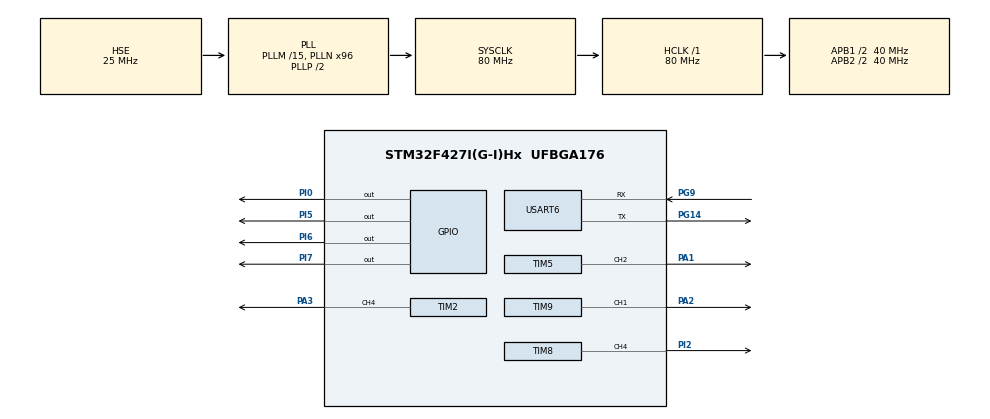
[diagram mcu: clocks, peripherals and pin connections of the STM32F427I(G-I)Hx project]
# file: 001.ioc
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Mcu.Family=STM32F4
Mcu.Name=STM32F427I(G-I)Hx
Mcu.Package=UFBGA176
NVIC.PriorityGroup=NVIC_PRIORITYGROUP_4
NVIC.TIM1_BRK_TIM9_IRQn=true\:0\:0\:false\:false\:true\:true\:true\:true
NVIC.TIM2_IRQn=true\:0\:0\:false\:false\:true\:true\:true\:true
NVIC.TIM5_IRQn=true\:0\:0\:false\:false\:true\:true\:true\:true
NVIC.TIM8_BRK_TIM12_IRQn=true\:0\:0\:false\:false\:true\:true\:true\:true
NVIC.TIM8_CC_IRQn=true\:0\:0\:false\:false\:true\:true\:true\:true
NVIC.TIM8_TRG_COM_TIM14_IRQn=true\:0\:0\:false\:false\:true\:true\:true\:true
NVIC.TIM8_UP_TIM13_IRQn=true\:0\:0\:false\:false\:true\:true\:true\:true
NVIC.USART6_IRQn=true\:0\:0\:false\:false\:true\:true\:true\:true
PA1.Signal=S_TIM5_CH2
PA2.Signal=S_TIM9_CH1
PA3.Signal=S_TIM2_CH4
PG14.Mode=Asynchronous
PG14.Signal=USART6_TX
PG9.Mode=Asynchronous
PG9.Signal=USART6_RX
PH0/OSC_IN.Mode=HSE-External-Oscillator
PH0/OSC_IN.Signal=RCC_OSC_IN
PH1/OSC_OUT.Mode=HSE-External-Oscillator
PH1/OSC_OUT.Signal=RCC_OSC_OUT
PI0.GPIO_PuPd=GPIO_PULLUP
PI0.Signal=GPIO_Output
PI2.Signal=S_TIM8_CH4
PI5.GPIO_PuPd=GPIO_PULLUP
PI5.Signal=GPIO_Output
PI6.GPIO_PuPd=GPIO_PULLUP
PI6.Signal=GPIO_Output
PI7.GPIO_PuPd=GPIO_PULLUP
PI7.Signal=GPIO_Output
ProjectManager.HeapSize=0x200
ProjectManager.StackSize=0x400
ProjectManager.TargetToolchain=MDK-ARM V5.32
RCC.48MHZClocksFreq_Value=32000000
RCC.AHBFreq_Value=80000000
RCC.APB1CLKDivider=RCC_HCLK_DIV2
RCC.APB1Freq_Value=40000000
RCC.APB1TimFreq_Value=80000000
RCC.APB2CLKDivider=RCC_HCLK_DIV2
RCC.APB2Freq_Value=40000000
RCC.APB2TimFreq_Value=80000000
RCC.CortexFreq_Value=80000000
RCC.HCLKFreq_Value=80000000
RCC.HSE_VALUE=25000000
RCC.HSI_VALUE=16000000
RCC.LSE_VALUE=32768
RCC.PLLM=15
RCC.PLLN=96
RCC.PLLQ=5
RCC.PLLSourceVirtual=RCC_PLLSOURCE_HSE
RCC.SYSCLKFreq_VALUE=80000000
RCC.SYSCLKSource=RCC_SYSCLKSOURCE_PLLCLK
RCC.VCOOutputFreq_Value=160000000
SH.S_TIM2_CH4.0=TIM2_CH4,PWM Generation4 CH4
SH.S_TIM5_CH2.0=TIM5_CH2,PWM Generation2 CH2
SH.S_TIM8_CH4.0=TIM8_CH4,PWM Generation4 CH4
SH.S_TIM9_CH1.0=TIM9_CH1,PWM Generation1 CH1
TIM2.AutoReloadPreload=TIM_AUTORELOAD_PRELOAD_ENABLE
TIM2.Channel-PWM\ Generation4\ CH4=TIM_CHANNEL_4
TIM2.Period=999
TIM2.Prescaler=79
TIM2.Pulse-PWM\ Generation4\ CH4=500
TIM5.AutoReloadPreload=TIM_AUTORELOAD_PRELOAD_ENABLE
TIM5.Channel-PWM\ Generation2\ CH2=TIM_CHANNEL_2
TIM5.Period=999
TIM5.Prescaler=79
TIM5.Pulse-PWM\ Generation2\ CH2=500
TIM8.AutoReloadPreload=TIM_AUTORELOAD_PRELOAD_ENABLE
TIM8.Channel-PWM\ Generation4\ CH4=TIM_CHANNEL_4
TIM8.Period=999
TIM8.Prescaler=79
TIM8.Pulse-PWM\ Generation4\ CH4=500
TIM9.AutoReloadPreload=TIM_AUTORELOAD_PRELOAD_ENABLE
TIM9.Channel-PWM\ Generation1\ CH1=TIM_CHANNEL_1
TIM9.Period=999
TIM9.Prescaler=79
TIM9.Pulse-PWM\ Generation1\ CH1=500
USART6.VirtualMode=VM_ASYNC
VP_TIM2_VS_ClockSourceINT.Mode=Internal
VP_TIM5_VS_ClockSourceINT.Mode=Internal
VP_TIM8_VS_ClockSourceINT.Mode=Internal
VP_TIM9_VS_ClockSourceINT.Mode=Internal
board=custom

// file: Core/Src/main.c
/* USER CODE BEGIN Header */
/**
  ******************************************************************************
  * @file           : main.c
  * @brief          : Main program body
  ******************************************************************************
  * @attention
  *
  * Copyright (c) 2024 STMicroelectronics.
  * All rights reserved.
  *
  * This software is licensed under terms that can be found in the LICENSE file
  * in the root directory of this software component.
  * If no LICENSE file comes with this software, it is provided AS-IS.
  *
  ******************************************************************************
  */
/* USER CODE END Header */
#include "main.h"
#include "tim.h"
#include "usart.h"
#include "gpio.h"

/* USER CODE BEGIN Includes */
#include <stdio.h>
#include <string.h>
#include <math.h>
/* USER CODE END Includes */

/* USER CODE BEGIN PTD */
typedef struct step_ctrl_t
{
    int s;     // 加速过程需要的步数
    int i;     // 当前步
    int steps; // 步数
    float vi;  // 当前速度
    float a;   // 加速度（脉冲/s2）
    uint dir;
} step_ctrl;

typedef struct stepper_channel_t
{
    TIM_HandleTypeDef *timer;
    TIM_TypeDef *timer_instance;
    uint32_t channel;
    GPIO_TypeDef *dir_port;
    uint16_t dir_pin;
    volatile int *busy_flag;
    volatile int *enable_flag;
} stepper_channel;
/* USER CODE END PTD */

/* USER CODE BEGIN PD */
// 全局变量
float speed_factor = 0.1f;
float accel_factor = 0.2f;
int finger_pos[2];
int exit_debug_mode = 0;
g_config cfg;
// flag0~3 和 allow 在定时器中断里修改、在主循环里轮询，必须是 volatile，
// 否则 -O3 下 stepper_wait_all_done() 只读一次标志位，第一次阻塞运动就会死循环。
volatile int flag0;
volatile int flag1;
volatile int flag2;
volatile int flag3;
int test;
int test1;
int test2;
int test3;
int test4 = 0;
volatile int allow[4] = {0, 0, 0, 0};

static step_ctrl stepper_ctrl[4] = {0};

///////////////////////////////////////////////////////////////////////////////////
// ------------------------------ 解析魔方还原步骤 ------------------------------- //
///////////////////////////////////////////////////////////////////////////////////

enum cube_stat {
    STAT_DF=0,STAT_DB,  STAT_DL,  STAT_DR,
    STAT_UF,  STAT_UB,  STAT_UL,  STAT_UR,
    STAT_FL,  STAT_FR,  STAT_FU,  STAT_FD,
    STAT_BL,  STAT_BR,  STAT_BU,  STAT_BD,
    STAT_LF,  STAT_LB,  STAT_LU,  STAT_LD,
    STAT_RF,  STAT_RB,  STAT_RU,  STAT_RD,
};

enum cube_flip {
    FLIP_90_LEFT_CW   = 0,
    FLIP_180_LEFT     = 1,
    FLIP_90_LEFT_CCW  = 2,
    FLIP_90_RIGHT_CW  = 3,
    FLIP_180_RIGHT    = 4,
    FLIP_90_RIGHT_CCW = 5,
    FLIP_NULL         = 7,
};
enum cube_twist {
    TWIST_90_LEFT_CW   = 0,
    TWIST_180_LEFT     = 1,
    TWIST_90_LEFT_CCW  = 2,
    TWIST_90_RIGHT_CW  = 3,
    TWIST_180_RIGHT    = 4,
    TWIST_90_RIGHT_CCW = 5,
    TWIST_NULL         = 7,
};

// orig|90,LEFT,CW|180,LEFT|90,LEFT,CCW|90,RIGHT,CW|180,RIGHT|90,RIGHT,CCW
// 使用cube_table.py自动生成
const char cube_status_tab[24][6]={
    // 90,LEFT,CW|180,LEFT|90,LEFT,CCW|90,RIGHT,CW|180,RIGHT|90,RIGHT,CCW
    {STAT_DL, STAT_DB, STAT_DR, STAT_RF, STAT_UF, STAT_LF}, // flip from STAT_DF
    {STAT_DR, STAT_DF, STAT_DL, STAT_LB, STAT_UB, STAT_RB}, // flip from STAT_DB
    {STAT_DB, STAT_DR, STAT_DF, STAT_FL, STAT_UL, STAT_BL}, // flip from STAT_DL
    {STAT_DF, STAT_DL, STAT_DB, STAT_BR, STAT_UR, STAT_FR}, // flip from STAT_DR
    {STAT_UR, STAT_UB, STAT_UL, STAT_LF, STAT_DF, STAT_RF}, // flip from STAT_UF
    {STAT_UL, STAT_UF, STAT_UR, STAT_RB, STAT_DB, STAT_LB}, // flip from STAT_UB
    {STAT_UF, STAT_UR, STAT_UB, STAT_BL, STAT_DL, STAT_FL}, // flip from STAT_UL
    {STAT_UB, STAT_UL, STAT_UF, STAT_FR, STAT_DR, STAT_BR}, // flip from STAT_UR
    {STAT_FD, STAT_FR, STAT_FU, STAT_UL, STAT_BL, STAT_DL}, // flip from STAT_FL
    {STAT_FU, STAT_FL, STAT_FD, STAT_DR, STAT_BR, STAT_UR}, // flip from STAT_FR
    {STAT_FL, STAT_FD, STAT_FR, STAT_RU, STAT_BU, STAT_LU}, // flip from STAT_FU
    {STAT_FR, STAT_FU, STAT_FL, STAT_LD, STAT_BD, STAT_RD}, // flip from STAT_FD
    {STAT_BU, STAT_BR, STAT_BD, STAT_DL, STAT_FL, STAT_UL}, // flip from STAT_BL
    {STAT_BD, STAT_BL, STAT_BU, STAT_UR, STAT_FR, STAT_DR}, // flip from STAT_BR
    {STAT_BR, STAT_BD, STAT_BL, STAT_LU, STAT_FU, STAT_RU}, // flip from STAT_BU
    {STAT_BL, STAT_BU, STAT_BR, STAT_RD, STAT_FD, STAT_LD}, // flip from STAT_BD
    {STAT_LU, STAT_LB, STAT_LD, STAT_DF, STAT_RF, STAT_UF}, // flip from STAT_LF
    {STAT_LD, STAT_LF, STAT_LU, STAT_UB, STAT_RB, STAT_DB}, // flip from STAT_LB
    {STAT_LB, STAT_LD, STAT_LF, STAT_FU, STAT_RU, STAT_BU}, // flip from STAT_LU
    {STAT_LF, STAT_LU, STAT_LB, STAT_BD, STAT_RD, STAT_FD}, // flip from STAT_LD
    {STAT_RD, STAT_RB, STAT_RU, STAT_UF, STAT_LF, STAT_DF}, // flip from STAT_RF
    {STAT_RU, STAT_RF, STAT_RD, STAT_DB, STAT_LB, STAT_UB}, // flip from STAT_RB
    {STAT_RF, STAT_RD, STAT_RB, STAT_BU, STAT_LU, STAT_FU}, // flip from STAT_RU
    {STAT_RB, STAT_RU, STAT_RF, STAT_FD, STAT_LD, STAT_BD}, // flip from STAT_RD
};

// a: 需要进行的操作，取值范围如下
// "U", "R", "F", "D", "L", "B"
// "U'", "R'", "F'", "D'", "L'", "B'"
// "U2", "R2", "F2", "D2", "L2", "B2"
// stat: 魔方的朝向，取值范围如下(0-23)
//    STAT_DF,STAT_DB, STAT_DL, STAT_DR,
//    STAT_UF, STAT_UB, STAT_UL, STAT_UR,
//    STAT_FL, STAT_FR, STAT_FU, STAT_FD,
//    STAT_BL, STAT_BR, STAT_BU, STAT_BD,
//    STAT_LF, STAT_LB, STAT_LU, STAT_LD,
//    STAT_RF, STAT_RB, STAT_RU, STAT_RD,
// last_lr: 最后移动过的机械臂，下次操作时，会尽量选择同侧的
// LEFT  0
// RIGHT 1

// 返回值：魔方的朝向，取值范围和stat一样
static int cube_tweak(int stat, const char *a, int *last_lr, char *flip_twist)
{
    int lr = LEFT;
    int flip = FLIP_NULL;
    int twist = TWIST_NULL;
    const char cube_face_code[6] = {'U', 'R', 'F', 'D', 'L', 'B'};
    const char cube_stat_decode[24] = {
        0x32,0x35,0x34,0x31,
        0x02,0x05,0x04,0x01,
        0x24,0x21,0x20,0x23,
        0x54,0x51,0x50,0x53,
        0x42,0x45,0x40,0x43,
        0x12,0x15,0x10,0x13,
    };
    for(int face = 0; face < 6; face ++)
    {
        if(cube_face_code[face] == a[0])
        {
            // 将取值范围0-23的stat转为cube_stat_decode中描述的形式，方便判断可操作的面
            char stat_decode = cube_stat_decode[stat];
            //printf("action == %c%c, status == %c%c\n", a[0], a[1], cube_face_code[stat_decode>>4], cube_face_code[stat_decode&0x0f]);
            if((stat_decode & 0xF0) == (face << 4))
            {
                // 拧左边
                lr = LEFT;
            }
            else if((stat_decode & 0x0F) == face)
            {
                // 拧右边
                lr = RIGHT;
            }
            else
            {
                // 需要调整魔方方向
                int start, end, add, i;
                // last_lr: 最后移动过的机械臂，翻转魔方操作时，尽量选择同侧的机械臂
                // 和上次动作同为90度时，可以节省一些操作步骤
                if(*last_lr == LEFT)
                {
                    start = 0;
                    end = 6;
                    add = 1;
                }
                else
                {
                    start = 5;
                    end = -1;
                    add = -1;
                }
                for(i=start; i != end; i+=add)
                {
                    int next = cube_status_tab[stat][i];
                    char next_stat_decode = cube_stat_decode[next];
                    if((next_stat_decode & 0xF0) == (face << 4))
                    {
                        lr = LEFT;
                        flip = i;
                        stat = next;
                        break;
                    }
                    else if((next_stat_decode & 0x0F) == face)
                    {
                        lr = RIGHT;
                        flip = i;
                        stat = next;
                        break;
                    }
                }
            }
            break;
        }
    }
    *last_lr = lr;
    // 拧魔方
    if('\'' == a[1])
    {
        if(LEFT == lr){
            twist = TWIST_90_LEFT_CCW;
        }else{
            twist = TWIST_90_RIGHT_CCW;
        }
    }
    else if('2' == a[1])
    {
        if(LEFT == lr){
            twist = TWIST_180_LEFT;
        }else{
            twist = TWIST_180_RIGHT;
        }
    }
    else
    {
        if(LEFT == lr){
            twist = TWIST_90_LEFT_CW;
        }else{
            twist = TWIST_90_RIGHT_CW;
        }
    }
    flip_twist[0] = (char)flip;
    flip_twist[1] = (char)twist;
    return stat;
};

// 按照求解结果执行动作
static int cube_tweak_str(int stat, const char *str)
{
    const int MAX_STEP = 25;
    const char *p = str;
    int count = 0;// 步骤数量
    int last_lr = LEFT; // 最后移动过的机械臂，下次操作时，会尽量选择同侧的
    char motion_table[MAX_STEP][2];// {flip, twist}
    while(1)
    {
        if(*p == 'U' || *p == 'R' || *p == 'F' || *p == 'D' || *p == 'L' || *p == 'B'){
            stat = cube_tweak(stat, p, &last_lr, motion_table[count]);
            p++;
            count++;
            if(*p == 0 || count >= MAX_STEP){
                break;
            }
        }
        p++;
        if(*p == 0){
            break;
        }
    }
    ////printf("count=%d\n", count);
    for(int i=0; i<count-1; i++)
    {
        int twist = motion_table[i][1];
        int flip = motion_table[i+1][0];
        if((flip == FLIP_90_LEFT_CW || flip == FLIP_90_LEFT_CCW) &&
           (twist == TWIST_90_LEFT_CW || twist == TWIST_90_LEFT_CCW))
        {
            motion_table[i][1] |= 0x10;
            motion_table[i+1][0] |= 0x10;
        }
        if((flip == FLIP_90_RIGHT_CW || flip == FLIP_90_RIGHT_CCW) &&
           (twist == TWIST_90_RIGHT_CW || twist == TWIST_90_RIGHT_CCW))
        {
            motion_table[i][1] |= 0x10;
            motion_table[i+1][0] |= 0x10;
        }
    }
    for(int i=0; i<count; i++)
    {
        //printf("count = %d\n", i);
        // 翻转魔方动作的编号，例如FLIP_90_LEFT_CW
        int flip = motion_table[i][0] & 0x0F;
        // 拧魔方动作的编号，例如TWIST_90_LEFT_CW
        int twist = motion_table[i][1] & 0x0F;
        // 如果可以跳过手指张开，机械臂旋转90度回零的动作，取值16
        // 如果不能，取值0
        int flip_skip_back_step = motion_table[i][0] & 0x10;
        int twist_skip_back_step = motion_table[i][1] & 0x10;
        switch(flip)
        {
            case FLIP_90_LEFT_CW:
                flip_cube_90(LEFT, CW, flip_skip_back_step);
                break;
            case FLIP_180_LEFT:
                flip_cube_180(LEFT);
                break;
            case FLIP_90_LEFT_CCW:
                flip_cube_90(LEFT, CCW, flip_skip_back_step);
                break;
            case FLIP_90_RIGHT_CW:
                flip_cube_90(RIGHT, CW, flip_skip_back_step);
                break;
            case FLIP_180_RIGHT:
                flip_cube_180(RIGHT);
                break;
            case FLIP_90_RIGHT_CCW:
                flip_cube_90(RIGHT, CCW, flip_skip_back_step);
                break;
            default: // FLIP_NULL
                break;
        }
        switch(twist)
        {
            case TWIST_90_LEFT_CW:
                twist_cube_90(LEFT, CW, twist_skip_back_step);
                break;
            case TWIST_180_LEFT:
                twist_cube_180(LEFT);
                break;
            case TWIST_90_LEFT_CCW:
                twist_cube_90(LEFT, CCW, twist_skip_back_step);
                break;
            case TWIST_90_RIGHT_CW:
                twist_cube_90(RIGHT, CW, twist_skip_back_step);
                break;
            case TWIST_180_RIGHT:
                twist_cube_180(RIGHT);
                break;
            case TWIST_90_RIGHT_CCW:
                twist_cube_90(RIGHT, CCW, twist_skip_back_step);
                break;
            default: // TWIST_NULL
                break;
        }
    }
    return stat;
}

///////////////////////////////////////////////////////////////////////////////////
// ---------------------------------- 脉冲控制 ---------------------------------- //
///////////////////////////////////////////////////////////////////////////////////

static stepper_channel stepper_channels[4] = {
    {&ARM0_T, TIM8, ARM0_ch, PIN_DIR0, GPIO_DIR0, &flag0, &allow[0]},
    {&ARM1_T, TIM2, ARM1_ch, PIN_DIR1, GPIO_DIR1, &flag1, &allow[1]},
    {&ARM2_T, TIM9, ARM2_ch, PIN_DIR2, GPIO_DIR2, &flag2, &allow[2]},
    {&ARM3_T, TIM5, ARM3_ch, PIN_DIR3, GPIO_DIR3, &flag3, &allow[3]},
};

static void stepper_refresh_busy_count(void)
{
    test4 = flag0 + flag1 + flag2 + flag3;
}

static int stepper_is_valid(int sm)
{
    return sm >= 0 && sm < 4;
}

static void stepper_mark_busy(int sm)
{
    if(stepper_is_valid(sm))
    {
        *stepper_channels[sm].busy_flag = 1;
        stepper_refresh_busy_count();
    }
}

static void stepper_mark_done(int sm)
{
    if(stepper_is_valid(sm))
    {
        *stepper_channels[sm].busy_flag = 0;
        stepper_refresh_busy_count();
    }
}

static int stepper_any_busy(void)
{
    return flag0 || flag1 || flag2 || flag3;
}

static void stepper_start_channel(int sm)
{
    if(stepper_is_valid(sm))
    {
        stepper_channel *channel = &stepper_channels[sm];

        HAL_TIM_Base_Start_IT(channel->timer);
        HAL_TIM_PWM_Start(channel->timer, channel->channel);
        *channel->enable_flag = 1;
    }
}

static void stepper_stop_channel(int sm)
{
    if(stepper_is_valid(sm))
    {
        stepper_channel *channel = &stepper_channels[sm];

        HAL_TIM_PWM_Stop(channel->timer, channel->channel);
        HAL_TIM_Base_Start_IT(channel->timer);
    }
}

static void stepper_wait_all_done(void)
{
    while(stepper_any_busy())
    {
    }
}
// 电机加速控制
// gpio_mask 1<<GPIO编号 steps：步数，v0：初始速度（脉冲/s），v：最高速度（脉冲/s），a：加速度（脉冲/s2）
// steps可以为正数或者负数，符号表示方向，但是不能为0
static void stepper_move(int sm, int steps, float v0, float v, float a)
{
    if(!stepper_is_valid(sm))
    {
        return;
    }

    step_ctrl *p_step_ctrl = &stepper_ctrl[sm];

    if(steps < 0)
    {
        p_step_ctrl->dir = 0;
        p_step_ctrl->steps = -steps;
    }
    else
    {
        p_step_ctrl->dir = 1;
        p_step_ctrl->steps = steps;
    }

    p_step_ctrl->vi = v0 * speed_factor;
    p_step_ctrl->a = a * accel_factor;
    p_step_ctrl->s = (int)roundf((v * v - v0 * v0) / (2 * a)); // 计算加速过程需要的步数
    p_step_ctrl->i = 0;
    test1 = sm;

    stepper_start_channel(sm);
}

// 等待电机控制指令执行完毕
static void stepper_move_block(int sm, int steps, float v0, float v, float a)
{
    stepper_mark_busy(sm);
    stepper_move(sm, steps, v0, v, a);
    stepper_wait_all_done();
}

static uint32_t stepper_move_calc(step_ctrl *p_step_ctrl)
{
    int i = p_step_ctrl->i;
    int s = p_step_ctrl->s;
    int steps = p_step_ctrl->steps;
    float vi = p_step_ctrl->vi;
    float a = p_step_ctrl->a;
    float accel;

    test3 = i;

    if(i < s && i < steps / 2)
    {
        accel = a;
    }
    else if(i >= steps - s)
    {
        accel = -a;
    }
    else
    {
        accel = 0;
    }

    vi = sqrtf(vi * vi + 2.0f * accel);
    p_step_ctrl->vi = vi;
    p_step_ctrl->i = i + 1;

    vi = vi * 2;
    if(vi > 1995)
    {
        vi = 1995;
    }

    return (uint32_t)vi;
}

static void stepper_handle_period_elapsed(int sm)
{
    stepper_channel *channel = &stepper_channels[sm];
    step_ctrl *ctrl = &stepper_ctrl[sm];
    uint32_t period = stepper_move_calc(ctrl);

    HAL_GPIO_WritePin(channel->dir_port, channel->dir_pin, ctrl->dir ? GPIO_PIN_RESET : GPIO_PIN_SET);
    channel->timer_instance->ARR = 1000000U / period - 1U;

    if(sm == 2)
    {
        test2 = period;
    }

    if(ctrl->i >= ctrl->steps)
    {
        stepper_mark_done(sm);
        stepper_stop_channel(sm);
    }
}

void HAL_TIM_PeriodElapsedCallback(TIM_HandleTypeDef *htim)
{
    stepper_refresh_busy_count();

    for(int sm = 0; sm < 4; sm++)
    {
        if(htim == stepper_channels[sm].timer && *stepper_channels[sm].enable_flag == 1)
        {
            stepper_handle_period_elapsed(sm);
            break;
        }
    }
}
///////////////////////////////////////////////////////////////////////////////////
// ---------------------------------- 运动控制 ---------------------------------- //
///////////////////////////////////////////////////////////////////////////////////

//void zero_point(void)
//{
//
//     HAL_Delay(100);
//    // stepper 2
//    stepper_move      (0, 1, cfg.SPEED_HOME, cfg.SPEED_HOME, cfg.ACCEL_HOME);// 移动一步，由HOLD到RUN电流
//    int step = 0;
//    for (int i = 0; ;i++)
//    {
//        stepper_move_block(2, -1, cfg.SPEED_HOME, cfg.SPEED_HOME, cfg.ACCEL_HOME);
//        step++;
//        if(gpio_get(DIAG2) || i > 500)
//        {
//            break;
//        }
//    }
//     HAL_Delay(100);
//    step = 0;
//    for (int i = 0; ;i++)
//    {
//        stepper_move_block(2, 1, cfg.SPEED_HOME, cfg.SPEED_HOME, cfg.ACCEL_HOME);
//        step++;
//        if(gpio_get(DIAG2))
//        {
//            //printf("finger 2 home done. step=%d\n", step);
//            break;
//        }
//        if (i > 200 * 16)
//        {
//            puts("finger 2 home error.");
//            error_code(ERROR_ZERO_POINT);
//        }
//    }
//     HAL_Delay(100);
//    stepper_move_block(2, -cfg.FINGER_OFFSET_INIT, cfg.SPEED_HOME, cfg.SPEED_LOW, cfg.ACCEL_HOME);
//    // stepper 0
//    step = 0;
//    for (int i = 0; ;i++)
//    {
//        stepper_move      (0, 1, cfg.SPEED_HOME, cfg.SPEED_HOME, cfg.ACCEL_HOME);
//        stepper_move_block(2, 1, cfg.SPEED_HOME, cfg.SPEED_HOME, cfg.ACCEL_HOME);
//        step++;
//        if(gpio_get(ITR9606_0))
//        {
//            //printf("arm 0 home done. step=%d\n", step);
//            break;
//        }
//        if ( i > 200 * 16 || gpio_get(DIAG0))
//        {
//            puts("arm 0 home error.");
//            error_code(ERROR_ZERO_POINT);
//        }
//    }
//     HAL_Delay(100);
//    stepper_move      (0, cfg.ARM_OFFSET, cfg.SPEED_HOME, cfg.SPEED_HOME, cfg.ACCEL_HOME);
//    stepper_move_block(2, cfg.ARM_OFFSET, cfg.SPEED_HOME, cfg.SPEED_HOME, cfg.ACCEL_HOME);
//    // stepper 3
//    stepper_move      (1, 1, cfg.SPEED_HOME, cfg.SPEED_HOME, cfg.ACCEL_HOME);// 移动一步，由HOLD到RUN电流
//    step = 0;
//    for (int i = 0; ;i++)
//    {
//        stepper_move_block(3, -1, cfg.SPEED_HOME, cfg.SPEED_HOME, cfg.ACCEL_HOME);
//        step++;
//        if(gpio_get(DIAG3) || i > 500)
//        {
//            break;
//        }
//    }
//     HAL_Delay(100);
//    step = 0;
//    for (int i = 0; ;i++)
//    {
//        stepper_move_block(3, 1, cfg.SPEED_HOME, cfg.SPEED_HOME, cfg.ACCEL_HOME);
//        step++;
//        if(gpio_get(DIAG3))
//        {
//            //printf("finger 3 home done. step=%d\n", step);
//            break;
//        }
//        if (i > 200 * 16)
//        {
//            puts("finger 3 home error.");
//            error_code(ERROR_ZERO_POINT);
//        }
//    }
//     HAL_Delay(100);
//    stepper_move_block(3, -cfg.FINGER_OFFSET_INIT, cfg.SPEED_HOME, cfg.SPEED_LOW, cfg.ACCEL_HOME);
//    // stepper 1
//    step = 0;
//    for (int i = 0; ;i++)
//    {
//        stepper_move      (1, 1, cfg.SPEED_HOME, cfg.SPEED_HOME, cfg.ACCEL_HOME);
//        stepper_move_block(3, 1, cfg.SPEED_HOME, cfg.SPEED_HOME, cfg.ACCEL_HOME);
//        step++;
//        if(gpio_get(ITR9606_1))
//        {
//            //printf("arm 1 home done. step=%d\n", step);
//            break;
//        }
//        if ( i > 200 * 16 || gpio_get(DIAG1))
//        {
//            puts("arm 1 home error.");
//            error_code(ERROR_ZERO_POINT);
//        }
//    }
//     HAL_Delay(100);
//    stepper_move      (1, cfg.ARM_OFFSET, cfg.SPEED_HOME, cfg.SPEED_LOW, cfg.ACCEL_HOME);
//    stepper_move_block(3, cfg.ARM_OFFSET, cfg.SPEED_HOME, cfg.SPEED_LOW, cfg.ACCEL_HOME);
//    finger_pos[0] = cfg.FINGER_OFFSET_INIT;
//    finger_pos[1] = cfg.FINGER_OFFSET_INIT;
//}

// LEFT 0 RIGHT 1
void move_finger(int lr, int to, float v0, float v, float a)
{
    stepper_move      (lr + 2, finger_pos[lr] - to, v0, v, a);
    finger_pos[lr] = to;
}
void move_finger_block(int lr, int to, float v0, float v, float a)
{
    stepper_move_block(lr + 2, finger_pos[lr] - to, v0, v, a);
    finger_pos[lr] = to;
}
void move_arm_block(int lr, int step, float v0, float v, float a)
{
    stepper_move      (lr, step, v0, v, a);
    stepper_move_block(lr + 2, step, v0, v, a);
}
void move_arm(int lr, int step, float v0, float v, float a)
{
    stepper_move(lr, step, v0, v, a);
    stepper_move(lr + 2, step, v0, v, a);
}
// 夹紧魔方
void move_finger_to_default(void)
{
    move_finger      (LEFT, cfg.FINGER_OFFSET_SPIN, cfg.SPEED_HOME, cfg.SPEED_LOW, cfg.ACCEL_HOME);
    move_finger_block(RIGHT, cfg.FINGER_OFFSET_SPIN, cfg.SPEED_HOME, cfg.SPEED_LOW, cfg.ACCEL_HOME);
}
void move_finger_to_lock(void)
{
    move_finger      (LEFT, cfg.FINGER_OFFSET_LOCK, cfg.SPEED_HOME, cfg.SPEED_LOW, cfg.ACCEL_HOME);
    move_finger_block(RIGHT, cfg.FINGER_OFFSET_LOCK, cfg.SPEED_HOME, cfg.SPEED_LOW, cfg.ACCEL_HOME);
}
// 松开魔方
void move_finger_to_init(void)
{
    move_finger      (LEFT, cfg.FINGER_OFFSET_INIT, cfg.SPEED_HOME, cfg.SPEED_LOW, cfg.ACCEL_HOME);
    move_finger_block(RIGHT, cfg.FINGER_OFFSET_INIT, cfg.SPEED_HOME, cfg.SPEED_LOW, cfg.ACCEL_HOME);
}
void move_finger_to_max(void)
{
    move_finger      (LEFT, cfg.FINGER_OFFSET_MAX, cfg.SPEED_HOME, cfg.SPEED_LOW, cfg.ACCEL_HOME);
    move_finger_block(RIGHT, cfg.FINGER_OFFSET_MAX, cfg.SPEED_HOME, cfg.SPEED_LOW, cfg.ACCEL_HOME);
}

//// 反复移动手指，改善润滑状态
//static void move_finger_repetition()
//{
//    for(int i=0;i<3; i++)
//    {
//        move_finger      (LEFT, cfg.FINGER_OFFSET_MAX, cfg.SPEED_HOME, cfg.SPEED_LOW, cfg.ACCEL_HOME);
//        move_finger_block(RIGHT, cfg.FINGER_OFFSET_MAX, cfg.SPEED_HOME, cfg.SPEED_LOW, cfg.ACCEL_HOME);
//         HAL_Delay(cfg.DELAY_US_AFTER_FINGER_LOCK);
//        move_finger      (LEFT, 32, cfg.SPEED_HOME, cfg.SPEED_LOW, cfg.ACCEL_HOME);
//        move_finger_block(RIGHT, 32, cfg.SPEED_HOME, cfg.SPEED_LOW, cfg.ACCEL_HOME);
//         HAL_Delay(cfg.DELAY_US_AFTER_FINGER_LOCK);
//    }
//    for(int i=0;i<3; i++)
//    {
//        move_arm_block(LEFT, 1600, cfg.V_START_ARM_L, cfg.V_MAX_ARM_L, cfg.A_MAX_ARM_L);
//        move_arm_block(RIGHT, 1600, cfg.V_START_ARM_L, cfg.V_MAX_ARM_L, cfg.A_MAX_ARM_L);
//    }
//}
// 拧180度
// twist_cube_180(LEFT); or twist_cube_180(RIGHT);
void twist_cube_180(int lr)
{
    move_arm_block(lr, 200, cfg.V_START_ARM_L, cfg.V_MAX_ARM_L, cfg.A_MAX_ARM_L);
}
// 拧90度
void twist_cube_90(int lr, int cw_ccw, int skip_back_step)
{
    int dir = cw_ccw ? -1 : 1;
    // 转90度
    move_arm_block(lr, dir * 100, cfg.V_START_ARM_L, cfg.V_MAX_ARM_L, cfg.A_MAX_ARM_L);
    if(!skip_back_step)
    {
        // 对侧手指锁紧
        move_finger_block(!lr, cfg.FINGER_OFFSET_LOCK, cfg.V_START_FINGER, cfg.V_MAX_FINGER, cfg.A_MAX_FINGER);
         HAL_Delay(cfg.DELAY_US_AFTER_FINGER_LOCK);
        // 手指松开
        move_finger_block(lr, cfg.FINGER_OFFSET_MAX, cfg.V_START_FINGER, cfg.V_MAX_FINGER, cfg.A_MAX_FINGER);
        // 转90度
        move_arm_block(lr, dir * 100, cfg.V_START_ARM, cfg.V_MAX_ARM, cfg.A_MAX_ARM);
        // 手指缩回
        move_finger_block(lr, cfg.FINGER_OFFSET_SPIN, cfg.V_START_FINGER, cfg.V_MAX_FINGER, cfg.A_MAX_FINGER);
        // 对侧手指缩回
        move_finger_block(!lr, cfg.FINGER_OFFSET_SPIN, cfg.V_START_FINGER, cfg.V_MAX_FINGER, cfg.A_MAX_FINGER);
    }
}
void flip_cube_180(int lr)
{
    // 手指锁紧
    move_finger_block(lr, cfg.FINGER_OFFSET_LOCK, cfg.V_START_FINGER, cfg.V_MAX_FINGER, cfg.A_MAX_FINGER);
    HAL_Delay(cfg.DELAY_US_AFTER_FINGER_LOCK);
    // 对侧手指缩回
    move_finger_block(!lr, cfg.FINGER_OFFSET_MAX, cfg.V_START_FINGER, cfg.V_MAX_FINGER, cfg.A_MAX_FINGER);
    // 转180
    move_arm_block(lr, 200, cfg.V_START_ARM_L, cfg.V_MAX_ARM_L, cfg.A_MAX_ARM_L);
    // 手指归位
    move_finger_block(!lr, cfg.FINGER_OFFSET_SPIN, cfg.V_START_FINGER, cfg.V_MAX_FINGER, cfg.A_MAX_FINGER);
    move_finger_block(lr, cfg.FINGER_OFFSET_SPIN, cfg.V_START_FINGER, cfg.V_MAX_FINGER, cfg.A_MAX_FINGER);
}
void flip_cube_90(int lr, int cw_ccw, int skip_back_step)
{
    int dir = cw_ccw ? -1 : 1;
    // 手指锁紧
    move_finger_block(lr, cfg.FINGER_OFFSET_LOCK, cfg.V_START_FINGER, cfg.V_MAX_FINGER, cfg.A_MAX_FINGER);
     HAL_Delay(cfg.DELAY_US_AFTER_FINGER_LOCK);
    // 对侧手指松开
    move_finger_block(!lr, cfg.FINGER_OFFSET_MAX, cfg.V_START_FINGER, cfg.V_MAX_FINGER, cfg.A_MAX_FINGER);
    // 转90
    move_arm_block(lr, dir * 100, cfg.V_START_ARM_L, cfg.V_MAX_ARM_L, cfg.A_MAX_ARM_L);
    if(!skip_back_step)
    {
        // 手指归位
        move_finger_block(!lr, cfg.FINGER_OFFSET_SPIN, cfg.V_START_FINGER, cfg.V_MAX_FINGER, cfg.A_MAX_FINGER);
        move_finger_block(!lr, cfg.FINGER_OFFSET_LOCK, cfg.V_START_FINGER, cfg.V_MAX_FINGER, cfg.A_MAX_FINGER);
         HAL_Delay(cfg.DELAY_US_AFTER_FINGER_LOCK);
        move_finger_block(lr, cfg.FINGER_OFFSET_MAX, cfg.V_START_FINGER, cfg.V_MAX_FINGER, cfg.A_MAX_FINGER);
        // 转90度
        move_arm_block(lr, dir * 100, cfg.V_START_ARM, cfg.V_MAX_ARM, cfg.A_MAX_ARM);
    }
    // 手指缩回
    move_finger_block(lr, cfg.FINGER_OFFSET_SPIN, cfg.V_START_FINGER, cfg.V_MAX_FINGER, cfg.A_MAX_FINGER);
    // 对侧手指缩回
    move_finger_block(!lr, cfg.FINGER_OFFSET_SPIN, cfg.V_START_FINGER, cfg.V_MAX_FINGER, cfg.A_MAX_FINGER);
}

void run_demo(void)
{

    const char scramble_string_a[] = "D R2 U2 L2 B2 D F2 D L2 B2 D L2 F' U B R F2 U L D2 R2";
    const char scramble_string_b[] = "R2 D2 L' U' F2 R' B' U' F L2 D' B2 L2 D' F2 D' B2 L2 U2 R2 D'";
    int stat = STAT_DF;

    stat = cube_tweak_str(stat, scramble_string_a);
    HAL_Delay(1000);
    stat = cube_tweak_str(stat, scramble_string_b);
    HAL_Delay(1000);
    move_finger_to_init();
}

static void app_load_default_config(void)
{
    cfg.SPEED_HOME = 100.0f * RPM;
    cfg.SPEED_LOW = 200.0f * RPM;
    cfg.ACCEL_HOME = 1e5f;
    cfg.V_START_FINGER = 100.0f * RPM;
    cfg.V_MAX_FINGER = 100.0f * RPM;
    cfg.A_MAX_FINGER = 2.5e6f;
    cfg.V_START_ARM = 100.0f * RPM;
    cfg.V_MAX_ARM = 300.0f * RPM;
    cfg.A_MAX_ARM = 1e6f;
    cfg.V_START_ARM_L = 50.0f * RPM;
    cfg.V_MAX_ARM_L = 200.0f * RPM;
    cfg.A_MAX_ARM_L = 0.3e5f;
    cfg.DELAY_US_AFTER_FINGER_LOCK = 10;
    cfg.SPEED_FACTOR_FULL = 1.0f;
    cfg.SPEED_FACTOR_SLOW = 0.125f;
    cfg.ARM_OFFSET = 720;
    cfg.FINGER_OFFSET_LOCK = 230 - 8;
    cfg.FINGER_OFFSET_SPIN = 230 - 4;
    cfg.FINGER_OFFSET_INIT = 230;
    cfg.FINGER_OFFSET_MAX = 400;
    cfg.IRUN = 24;  // IRUN峰值1.17A
    cfg.IHOLD = 13; // IHOLD峰值0.66A
    cfg.SGTHRS = 105;
    cfg.DEBUG_MODE = 0;
    cfg.date[254] = FLASH_CONFIG_VERSION;
}

static void app_init_state(void)
{
    finger_pos[LEFT] = cfg.FINGER_OFFSET_INIT;
    finger_pos[RIGHT] = cfg.FINGER_OFFSET_INIT;

    flag0 = 0;
    flag1 = 0;
    flag2 = 0;
    flag3 = 0;
    stepper_refresh_busy_count();
}

static void app_prepare_hardware(void)
{
    HAL_GPIO_WritePin(PIN_DIR1, GPIO_DIR0, GPIO_PIN_RESET);
    HAL_GPIO_WritePin(PIN_DIR3, GPIO_DIR2, GPIO_PIN_RESET);
    HAL_Delay(2000);
}

static void app_init(void)
{
    app_load_default_config();
    app_init_state();
    app_prepare_hardware();
}

static void app_run(void)
{
    run_demo();

    while(1)
    {
    }
}
/* USER CODE END PD */

void SystemClock_Config(void);

int main(void)
{

  /* MCU Configuration--------------------------------------------------------*/

  /* Reset of all peripherals, Initializes the Flash interface and the Systick. */
  HAL_Init();

  /* Configure the system clock */
  SystemClock_Config();

  /* Initialize all configured peripherals */
  MX_GPIO_Init();
  MX_TIM8_Init();
  MX_TIM2_Init();
  MX_TIM5_Init();
  MX_TIM9_Init();
  MX_USART6_UART_Init();
  /* USER CODE BEGIN 2 */
  app_init();
  /* USER CODE END 2 */

  /* Infinite loop */
  while (1)
  {

    /* USER CODE BEGIN 3 */
    app_run();
  }
  /* USER CODE END 3 */
}

void SystemClock_Config(void)
{
  RCC_OscInitTypeDef RCC_OscInitStruct = {0};
  RCC_ClkInitTypeDef RCC_ClkInitStruct = {0};

  /** Configure the main internal regulator output voltage
  */
  __HAL_RCC_PWR_CLK_ENABLE();
  __HAL_PWR_VOLTAGESCALING_CONFIG(PWR_REGULATOR_VOLTAGE_SCALE3);

  /** Initializes the RCC Oscillators according to the specified parameters
  * in the RCC_OscInitTypeDef structure.
  */
  RCC_OscInitStruct.OscillatorType = RCC_OSCILLATORTYPE_HSE;
  RCC_OscInitStruct.HSEState = RCC_HSE_ON;
  RCC_OscInitStruct.PLL.PLLState = RCC_PLL_ON;
  RCC_OscInitStruct.PLL.PLLSource = RCC_PLLSOURCE_HSE;
  RCC_OscInitStruct.PLL.PLLM = 15;
  RCC_OscInitStruct.PLL.PLLN = 96;
  RCC_OscInitStruct.PLL.PLLP = RCC_PLLP_DIV2;
  RCC_OscInitStruct.PLL.PLLQ = 5;
  if (HAL_RCC_OscConfig(&RCC_OscInitStruct) != HAL_OK)
  {
    Error_Handler();
  }

  /** Initializes the CPU, AHB and APB buses clocks
  */
  RCC_ClkInitStruct.ClockType = RCC_CLOCKTYPE_HCLK|RCC_CLOCKTYPE_SYSCLK
                              |RCC_CLOCKTYPE_PCLK1|RCC_CLOCKTYPE_PCLK2;
  RCC_ClkInitStruct.SYSCLKSource = RCC_SYSCLKSOURCE_PLLCLK;
  RCC_ClkInitStruct.AHBCLKDivider = RCC_SYSCLK_DIV1;
  RCC_ClkInitStruct.APB1CLKDivider = RCC_HCLK_DIV2;
  RCC_ClkInitStruct.APB2CLKDivider = RCC_HCLK_DIV2;

  if (HAL_RCC_ClockConfig(&RCC_ClkInitStruct, FLASH_LATENCY_2) != HAL_OK)
  {
    Error_Handler();
  }
}

void Error_Handler(void)
{
  __disable_irq();
  while (1)
  {
  }
}

#ifdef  USE_FULL_ASSERT
/**
  * @brief  Reports the name of the source file and the source line number
  *         where the assert_param error has occurred.
  * @param  file: pointer to the source file name
  * @param  line: assert_param error line source number
  * @retval None
  */
void assert_failed(uint8_t *file, uint32_t line)
{
  /* USER CODE BEGIN 6 */
  /* User can add his own implementation to report the file name and line number,
     ex: //printf("Wrong parameters value: file %s on line %d\r\n", file, line) */
  /* USER CODE END 6 */
}
#endif /* USE_FULL_ASSERT */
